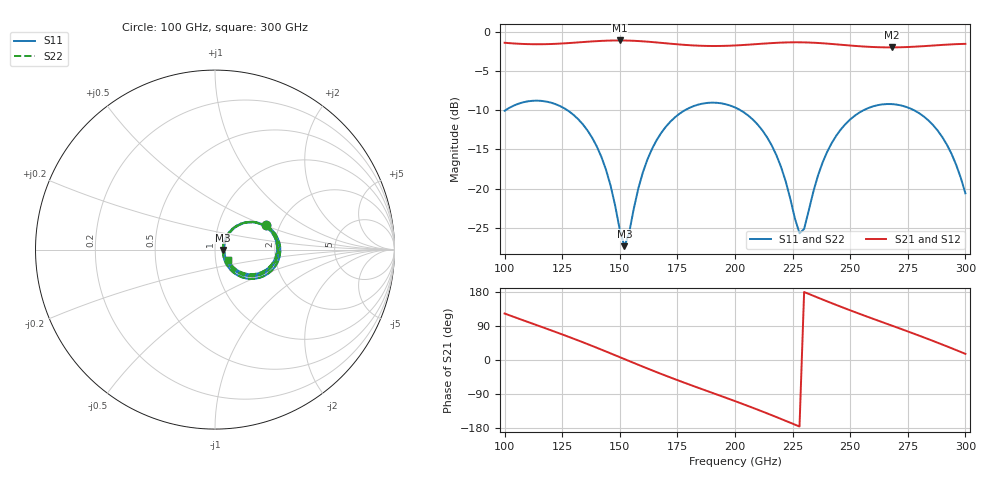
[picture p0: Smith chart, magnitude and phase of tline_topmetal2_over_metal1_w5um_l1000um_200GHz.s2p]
#  GHZ S DB R 50
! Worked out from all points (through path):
!   101 points, 100 GHz to 300 GHz, reference 50 ohm
!   highest |S21| = -1.09 dB at 150 GHz (marker M1); lowest = -2.0 dB at 268 GHz (marker M2)
!   group delay of S21, straight-line fit = 6.51 ps
!   lowest |S11| = -27.4 dB at 152 GHz (marker M3), VSWR 1.09, Z = 54.5 - j0.301 ohm
!   |S11| at or under -10 dB: 127.2 GHz to 178.3 GHz (51.06 GHz wide, 33.4 % of centre); 202.3 GHz to 255.8 GHz (53.45 GHz wide, 23.3 % of centre); 277.7 GHz to end of sweep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
!   |S22| runs from -27.4 to -8.8 dB; largest |S21 - S12| = 1.5e-13
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100  -10.07 25.9  -1.38 122.7  -1.38 122.7  -10.07 25.9
118  -8.89 -9.0  -1.56 83.1  -1.56 83.1  -8.89 -9.0
134  -11.82 -39.6  -1.29 46.7  -1.29 46.7  -11.82 -39.6
144  -17.59 -52.9  -1.12 22.4  -1.12 22.4  -17.59 -53.0
150  -25.29 -34.0  -1.09 7.5  -1.09 7.5  -25.30 -34.1
152  -27.36 -3.7  -1.09 2.4  -1.09 2.4  -27.39 -3.7
160  -17.94 51.1  -1.20 -17.5  -1.20 -17.5  -17.95 51.1
168  -12.88 42.0  -1.39 -36.8  -1.39 -36.8  -12.88 42.0
184  -9.28 12.6  -1.75 -73.2  -1.75 -73.2  -9.29 12.7
200  -9.64 -17.6  -1.73 -108.5  -1.73 -108.5  -9.65 -17.6
216  -14.52 -44.7  -1.42 -145.8  -1.42 -145.8  -14.53 -44.7
222  -19.08 -46.8  -1.34 -160.6  -1.34 -160.6  -19.09 -46.8
228  -25.72 -8.1  -1.33 -175.5  -1.33 -175.5  -25.74 -8.1
230  -25.17 20.1  -1.34 179.5  -1.34 179.5  -25.19 20.1
234  -20.40 46.0  -1.38 169.5  -1.38 169.5  -20.41 46.1
240  -15.32 47.4  -1.49 154.8  -1.49 154.8  -15.33 47.5
248  -11.75 36.0  -1.69 135.8  -1.69 135.8  -11.75 36.1
258  -9.70 18.1  -1.90 113.0  -1.90 113.0  -9.71 18.1
268  -9.22 -0.4  -1.97 90.9  -1.97 90.9  -9.22 -0.4
278  -10.04 -18.8  -1.88 68.7  -1.88 68.7  -10.05 -18.7
288  -12.61 -35.9  -1.69 45.5  -1.69 45.5  -12.61 -35.8
300  -20.61 -38.7  -1.52 16.2  -1.52 16.2  -20.61 -38.5
